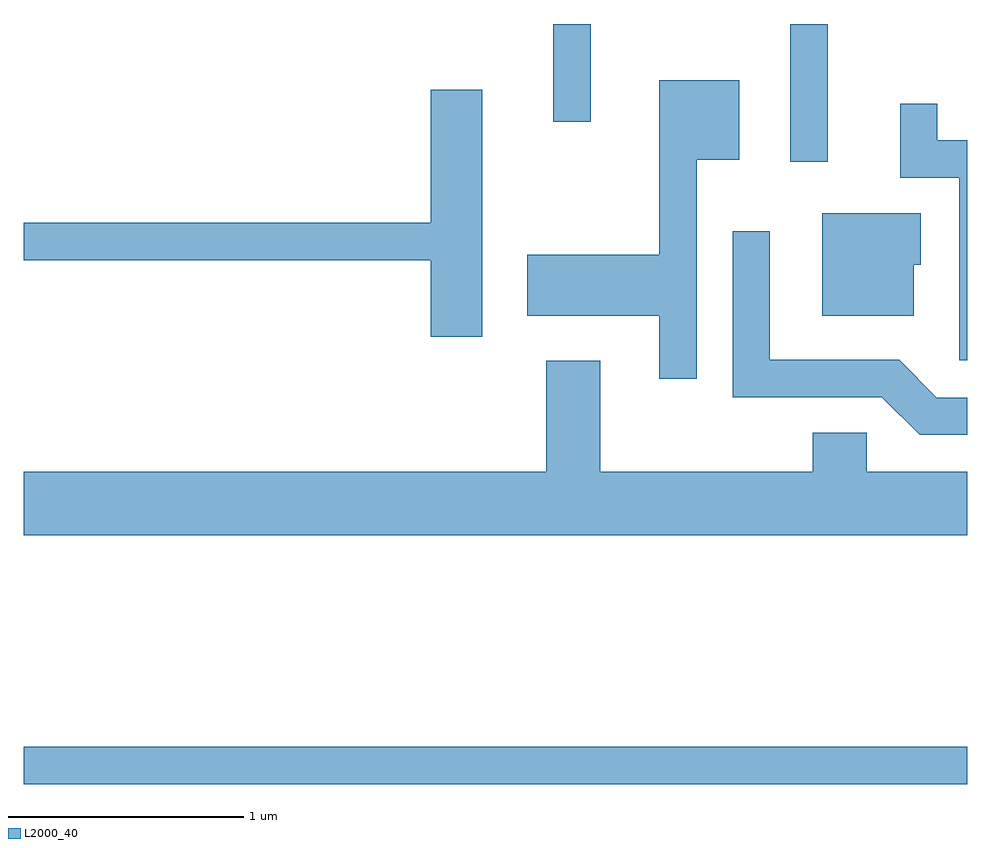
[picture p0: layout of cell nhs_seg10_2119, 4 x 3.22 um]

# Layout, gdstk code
import gdstk
lib = gdstk.Library(unit=1e-6, precision=1e-09)
def R(c, l, rs):  # rectangles x0, y0, x1, y1
    for r in rs: c.add(gdstk.rectangle(r[:2], r[2:], *l))
def P(c, l, *ps):  # polygons
    for p in ps: c.add(gdstk.Polygon(p, *l))
L2000_40 = (2000, 40)

nhs_seg10_2119 = lib.new_cell('nhs_seg10_2119')
R(nhs_seg10_2119, L2000_40, [(247.611,2117.301,251.611,2117.459), (250.861,2119.938,251.019,2120.522), (249.856,2120.108,250.014,2120.522)])
P(nhs_seg10_2119, L2000_40, [(250.464,2119.946),(250.644,2119.946),(250.644,2120.284),(250.306,2120.284),(250.306,2119.544),(249.746,2119.544),(249.746,2119.286),(250.306,2119.286),(250.306,2119.018),(250.464,2119.018)],
  [(249.554,2120.244),(249.336,2120.244),(249.336,2119.679),(247.611,2119.679),(247.611,2119.521),(249.336,2119.521),(249.336,2119.196),(249.554,2119.196)],
  [(251.611,2120.029),(251.484,2120.029),(251.484,2120.183),(251.326,2120.183),(251.326,2119.871),(251.576,2119.871),(251.576,2119.096),(251.611,2119.096)],
  [(251.384,2119.501),(251.414,2119.501),(251.414,2119.719),(250.996,2119.719),(250.996,2119.286),(251.384,2119.286)],
  [(251.611,2118.939),(251.482,2118.939),(251.322,2119.099),(250.774,2119.099),(250.774,2119.643),(250.616,2119.643),(250.616,2118.941),(251.249,2118.941),(251.409,2118.781),(251.611,2118.781)],
  [(251.611,2118.624),(251.184,2118.624),(251.184,2118.789),(250.956,2118.789),(250.956,2118.624),(250.054,2118.624),(250.054,2119.094),(249.826,2119.094),(249.826,2118.624),(247.611,2118.624),(247.611,2118.356),(251.611,2118.356)])

lib.write_gds('nhs_seg10_2119.gds')
